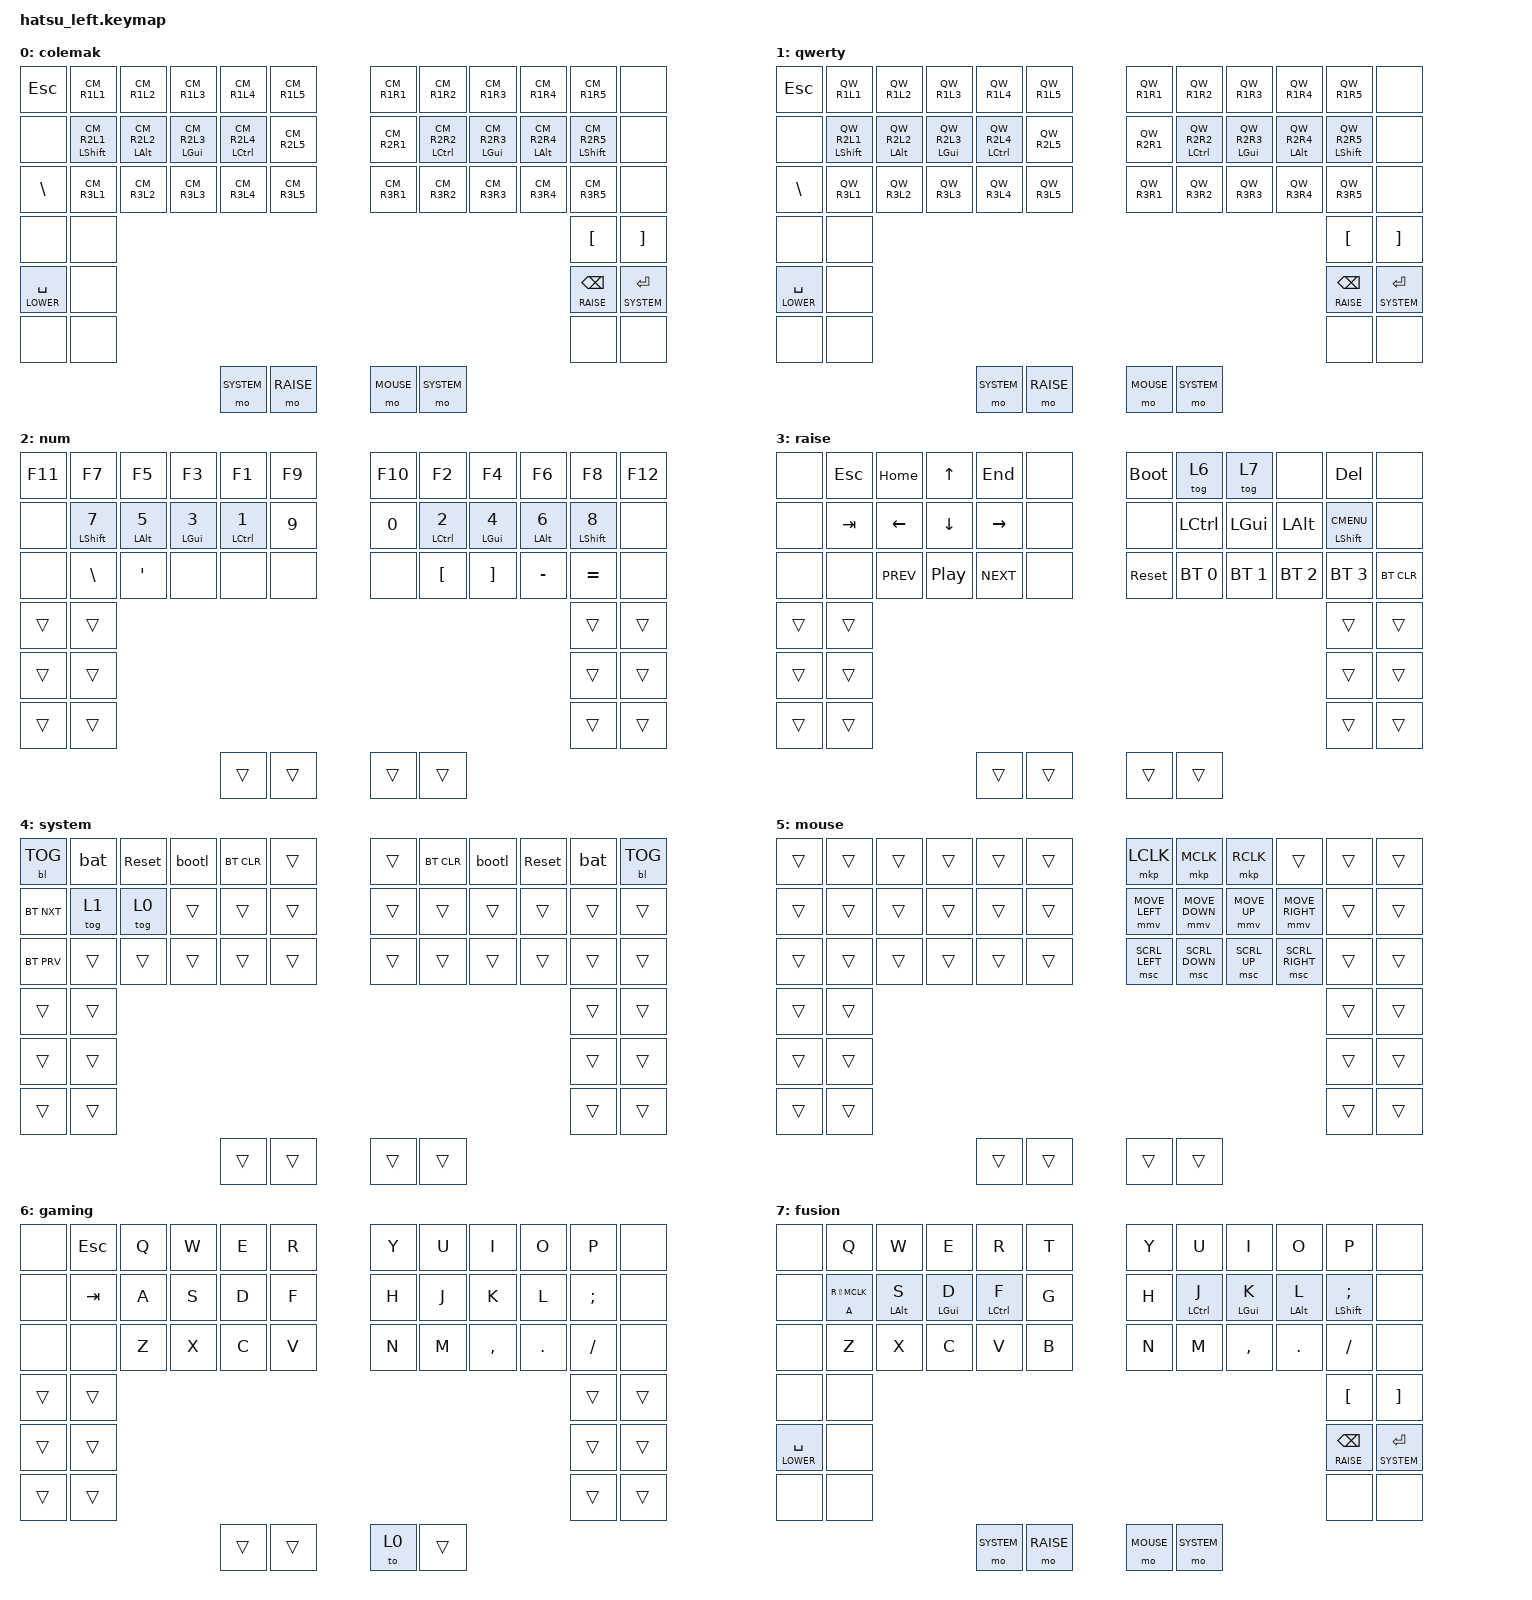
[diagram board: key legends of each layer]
#include <behaviors.dtsi>
#include <dt-bindings/zmk/keys.h>
#include <dt-bindings/zmk/outputs.h>
#include <dt-bindings/zmk/bt.h>
#include <dt-bindings/zmk/backlight.h>
#include <dt-bindings/zmk/pointing.h>
#include "layouts/alphas.h"
#include "telemetry/split_battery.dtsi"

/* Unified layers — shared across boards where possible */
#define BASE_COLEMAK 0
#define BASE_QWERTY 1
#define LOWER 2
#define RAISE 3
#define SYSTEM 4
#define MOUSE 5
#define GAMING 6
#define FUSION 7

/* Alpha row origins for the shared combo include (3x12, outer columns skipped) */
#define UML_ROW1 1
#define UML_ROW2 13
#define UML_ROW3 25

/ {
    behaviors {
#include "behaviors/homerow.dtsi"

        bat: bat {
            compatible = "zmk,behavior-battery-indicator";
            display-name = "Battery Indicator";
            #binding-cells = <0>;
        };

        bootl: bootl {
            compatible = "hatsu,behavior-bootloader";
            display-name = "Bootloader";
            #binding-cells = <0>;
        };

        lc: lc {
            compatible = "zmk,behavior-layer-color";
            display-name = "Layer Color Relay";
            #binding-cells = <0>;
        };

        bmm: balanced_mouserow_mods {
            compatible = "zmk,behavior-hold-tap";
            #binding-cells = <2>;
            tapping-term-ms = <200>;
            quick-tap-ms = <0>;
            flavor = "balanced";
            bindings = <&kp>, <&mkp>;
        };
    };

    combos {
        compatible = "zmk,combos";
        combo_esc {
            timeout-ms = <50>;
            key-positions = <0 1>;
            bindings = <&kp ESC>;
        };
        combo_base_flip {
            timeout-ms = <50>;
            key-positions = <1 10>;
            bindings = <&tog BASE_QWERTY>;
        };
        combo_bootload {
            timeout-ms = <50>;
            key-positions = <44 47>;
            bindings = <&bootl>;
        };
        combo_sysreset {
            timeout-ms = <50>;
            key-positions = <45 46>;
            bindings = <&sys_reset>;
        };

#include "combos/umlauts.dtsi"
    };

    keymap {
        compatible = "zmk,keymap";

        /* 0: Colemak (plain) base — default; flip to QWERTY via chord or &tog on SYSTEM */
        layer_0 {
            label = "colemak";
            bindings = <
                &kp ESC   &kp CM_R1L1  &kp CM_R1L2  &kp CM_R1L3  &kp CM_R1L4  &kp CM_R1L5  &kp CM_R1R1  &kp CM_R1R2  &kp CM_R1R3  &kp CM_R1R4  &kp CM_R1R5 &none
                &none  &bhm LSHIFT CM_R2L1  &bhm LALT CM_R2L2  &bhm LGUI CM_R2L3  &bhm LCTRL CM_R2L4  &kp CM_R2L5  &kp CM_R2R1  &bhm LCTRL CM_R2R2  &bhm LGUI CM_R2R3  &bhm LALT CM_R2R4  &bhm LSHIFT CM_R2R5 &none
                &kp BSLH  &kp CM_R3L1  &kp CM_R3L2  &kp CM_R3L3  &kp CM_R3L4  &kp CM_R3L5  &kp CM_R3R1  &kp CM_R3R2  &kp CM_R3R3  &kp CM_R3R4  &kp CM_R3R5 &none
                                &none &none                                    &kp LBKT &kp RBKT
                                &lt LOWER SPACE &none                          &lt RAISE BSPC &lt SYSTEM ENTER
                                &none &none                                    &none &none
                                &mo SYSTEM &mo RAISE                            &mo MOUSE &mo SYSTEM
            >;
        };

        /* 1: QWERTY base — toggle via chord (Q+P) or &tog BASE_QWERTY on SYSTEM */
        layer_1 {
            label = "qwerty";
            bindings = <
                &kp ESC   &kp QW_R1L1  &kp QW_R1L2  &kp QW_R1L3  &kp QW_R1L4  &kp QW_R1L5  &kp QW_R1R1  &kp QW_R1R2  &kp QW_R1R3  &kp QW_R1R4  &kp QW_R1R5 &none
                &none  &bhm LSHIFT QW_R2L1  &bhm LALT QW_R2L2  &bhm LGUI QW_R2L3  &bhm LCTRL QW_R2L4  &kp QW_R2L5  &kp QW_R2R1  &bhm LCTRL QW_R2R2  &bhm LGUI QW_R2R3  &bhm LALT QW_R2R4  &bhm LSHIFT QW_R2R5 &none
                &kp BSLH  &kp QW_R3L1  &kp QW_R3L2  &kp QW_R3L3  &kp QW_R3L4  &kp QW_R3L5  &kp QW_R3R1  &kp QW_R3R2  &kp QW_R3R3  &kp QW_R3R4  &kp QW_R3R5 &none
                                &none &none                                    &kp LBKT &kp RBKT
                                &lt LOWER SPACE &none                          &lt RAISE BSPC &lt SYSTEM ENTER
                                &none &none                                    &none &none
                                &mo SYSTEM &mo RAISE                            &mo MOUSE &mo SYSTEM
            >;
        };

        /* 2: LOWER / NUM — shared F-keys + numbers */
        layer_2 {
            label = "num";
            bindings = <
                &kp F11 &kp F7  &kp F5  &kp F3  &kp F1  &kp F9  &kp F10  &kp F2  &kp F4  &kp F6  &kp F8 &kp F12
                &none &bhm LSHIFT N7 &bhm LALT N5 &bhm LGUI N3 &bhm LCTRL N1 &kp N9 &kp N0 &bhm LCTRL N2 &bhm LGUI N4 &bhm LALT N6 &bhm LSHIFT N8 &none
                &none &kp BSLH &kp SQT &none &none &none &none &kp LBKT &kp RBKT &kp MINUS &kp EQUAL &none
                                &trans &trans                           &trans &trans
                                &trans &trans                            &trans &trans
                                &trans &trans                            &trans &trans
                                &trans &trans                            &trans &trans
            >;
        };

        /* 3: RAISE / NAV+FUNCTION — unified across boards */
        layer_3 {
            label = "raise";
            bindings = <
                &none &kp ESC &kp HOME &kp UP &kp END &none &bootloader &tog 6 &tog 7 &none &kp DEL &none
                &none &kp TAB &kp LEFT &kp DOWN &kp RIGHT &none &none &kp LCTRL &kp LGUI &kp LALT &bhm LSHIFT K_CMENU &none
                &none &none &kp C_PREV &kp C_PP &kp C_NEXT &none &sys_reset &bt BT_SEL 0 &bt BT_SEL 1 &bt BT_SEL 2 &bt BT_SEL 3 &bt BT_CLR
                                &trans &trans                           &trans &trans
                                &trans &trans                            &trans &trans
                                &trans &trans                            &trans &trans
                                &trans &trans                            &trans &trans
            >;
        };

        layer_4 {
            label = "system";
            bindings = <
                &bl BL_TOG &bat &sys_reset &bootl &bt BT_CLR &trans               &trans &bt BT_CLR &bootl &sys_reset &bat &bl BL_TOG
                &bt BT_NXT &tog 1 &tog 0 &trans &trans &trans &trans &trans &trans &trans &trans &trans
                &bt BT_PRV &trans &trans &trans &trans &trans               &trans &trans &trans &trans &trans &trans
                               &trans &trans                                    &trans &trans
                               &trans &trans                                    &trans &trans
                               &trans &trans                                    &trans &trans
                               &trans &trans                                    &trans &trans
            >;
        };

        layer_5 {
            label = "mouse";
            bindings = <
                &trans &trans &trans &trans &trans &trans               &mkp LCLK &mkp MCLK &mkp RCLK &trans &trans &trans
                &trans &trans &trans &trans &trans &trans               &mmv MOVE_LEFT &mmv MOVE_DOWN &mmv MOVE_UP &mmv MOVE_RIGHT &trans &trans
                &trans &trans &trans &trans &trans &trans               &msc SCRL_LEFT &msc SCRL_DOWN &msc SCRL_UP &msc SCRL_RIGHT &trans &trans
                                &trans &trans                            &trans &trans
                                &trans &trans                            &trans &trans
                                &trans &trans                            &trans &trans
                                &trans &trans                            &trans &trans
            >;
        };

        layer_6 {
            label = "gaming";
            bindings = <
                &none &kp ESC &kp Q &kp W &kp E &kp R            &kp Y &kp U &kp I &kp O &kp P &none
                &none &kp TAB &kp A &kp S &kp D &kp F      &kp H &kp J &kp K &kp L &kp SEMICOLON &none
                &none &none &kp Z &kp X &kp C &kp V          &kp N &kp M &kp COMMA &kp PERIOD &kp SLASH &none
                                &trans &trans                            &trans &trans
                                &trans &trans                            &trans &trans
                                &trans &trans                            &trans &trans
                                &trans &trans                            &to 0 &trans
            >;
        };

        layer_7 {
            label = "fusion";
            bindings = <
                &none &kp Q &kp W &kp E &kp R &kp T            &kp Y &kp U &kp I &kp O &kp P &none
                &none  &bmm A RS(MCLK)  &bhm LALT S  &bhm LGUI D  &bhm LCTRL F  &kp G      &kp H  &bhm LCTRL J  &bhm LGUI K  &bhm LALT L  &bhm LSHIFT SEMICOLON &none
                &none  &kp Z  &kp X  &kp C  &kp V  &kp B          &kp N  &kp M  &kp COMMA  &kp DOT  &kp FSLH &none
                                &none &none                                    &kp LBKT &kp RBKT
                                &lt LOWER SPACE &none                          &lt RAISE BSPC &lt SYSTEM ENTER
                                &none &none                                    &none &none
                                &mo SYSTEM &mo RAISE                            &mo MOUSE &mo SYSTEM
            >;
        };
    };

    chosen {
        zmk,layer-colors = &layer_colors;
    };

    layer_colors: layer_colors {
        compatible = "zmk,layer-colors";
        /* 0:colemak none 1:qwerty white 2:num cyan 3:raise orange 4:system blue 5:mouse yellow 6:gaming mint 7:fusion magenta */
        colors = <0x000000 0xFFFFFF 0x00FFFF 0xFF8000 0x0000FF 0xFFFF00 0x00FF88 0xFF00FF>;
    };
};
